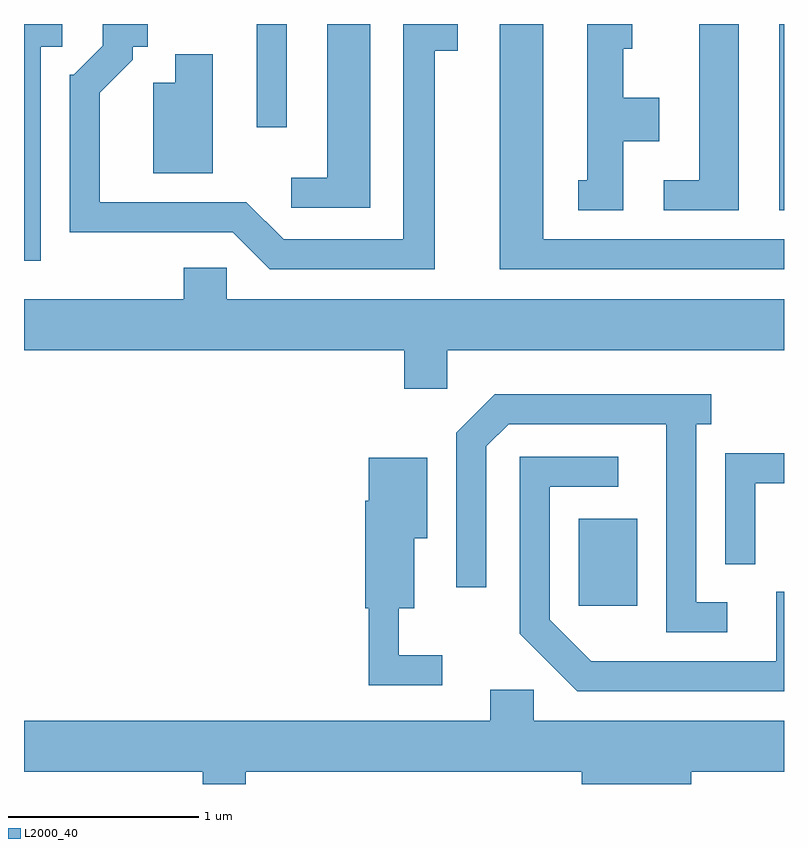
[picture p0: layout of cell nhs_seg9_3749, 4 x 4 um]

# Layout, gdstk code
import gdstk
lib = gdstk.Library(unit=1e-6, precision=1e-09)
def R(c, l, rs):  # rectangles x0, y0, x1, y1
    for r in rs: c.add(gdstk.rectangle(r[:2], r[2:], *l))
def P(c, l, *ps):  # polygons
    for p in ps: c.add(gdstk.Polygon(p, *l))
L2000_40 = (2000, 40)

nhs_seg9_3749 = lib.new_cell('nhs_seg9_3749')
R(nhs_seg9_3749, L2000_40, [(298.531,1979.371,298.839,1979.829), (299.586,1981.451,299.611,1982.432), (296.836,1981.888,296.994,1982.432)])
P(nhs_seg9_3749, L2000_40, [(297.774,1982.291),(297.893,1982.291),(297.893,1982.432),(297.606,1982.432),(297.606,1981.299),(296.977,1981.299),(296.782,1981.494),(296.009,1981.494),(296.009,1982.069),(296.184,1982.244),(296.184,1982.311),(296.263,1982.311),(296.263,1982.432),(296.026,1982.432),(296.026,1982.317),(295.874,1982.164),(295.851,1982.164),(295.851,1981.336),(296.709,1981.336),(296.904,1981.141),(297.774,1981.141)],
  [(299.374,1982.432),(299.166,1982.432),(299.166,1981.609),(298.978,1981.609),(298.978,1981.451),(299.374,1981.451)],
  [(298.764,1981.816),(298.954,1981.816),(298.954,1982.044),(298.764,1982.044),(298.764,1982.301),(298.813,1982.301),(298.813,1982.432),(298.576,1982.432),(298.576,1981.609),(298.528,1981.609),(298.528,1981.451),(298.764,1981.451)],
  [(297.434,1982.432),(297.206,1982.432),(297.206,1981.624),(297.018,1981.624),(297.018,1981.466),(297.434,1981.466)],
  [(299.611,1981.299),(298.344,1981.299),(298.344,1982.432),(298.116,1982.432),(298.116,1981.141),(299.611,1981.141)],
  [(295.699,1982.311),(295.813,1982.311),(295.813,1982.432),(295.611,1982.432),(295.611,1981.186),(295.699,1981.186)],
  [(296.604,1982.274),(296.406,1982.274),(296.406,1982.124),(296.291,1982.124),(296.291,1981.646),(296.604,1981.646)],
  [(297.839,1980.716),(299.611,1980.716),(299.611,1980.984),(296.679,1980.984),(296.679,1981.149),(296.451,1981.149),(296.451,1980.984),(295.611,1980.984),(295.611,1980.716),(297.611,1980.716),(297.611,1980.511),(297.839,1980.511)],
  [(299.313,1979.389),(299.149,1979.389),(299.149,1980.326),(299.228,1980.326),(299.228,1980.484),(298.089,1980.484),(297.886,1980.282),(297.886,1979.468),(298.044,1979.468),(298.044,1980.209),(298.162,1980.326),(298.991,1980.326),(298.991,1979.231),(299.313,1979.231)],
  [(299.459,1980.016),(299.611,1980.016),(299.611,1980.174),(299.301,1980.174),(299.301,1979.588),(299.459,1979.588)],
  [(299.611,1979.444),(299.571,1979.444),(299.571,1979.079),(298.597,1979.079),(298.379,1979.297),(298.379,1979.996),(298.738,1979.996),(298.738,1980.154),(298.221,1980.154),(298.221,1979.224),(298.524,1978.921),(299.611,1978.921)],
  [(297.813,1979.109),(297.584,1979.109),(297.584,1979.356),(297.664,1979.356),(297.664,1979.726),(297.734,1979.726),(297.734,1980.149),(297.426,1980.149),(297.426,1979.924),(297.406,1979.924),(297.406,1979.356),(297.426,1979.356),(297.426,1978.951),(297.813,1978.951)],
  [(296.779,1978.496),(298.546,1978.496),(298.546,1978.432),(299.124,1978.432),(299.124,1978.496),(299.611,1978.496),(299.611,1978.764),(298.294,1978.764),(298.294,1978.929),(298.066,1978.929),(298.066,1978.764),(295.611,1978.764),(295.611,1978.496),(296.551,1978.496),(296.551,1978.432),(296.779,1978.432)])

lib.write_gds('nhs_seg9_3749.gds')
